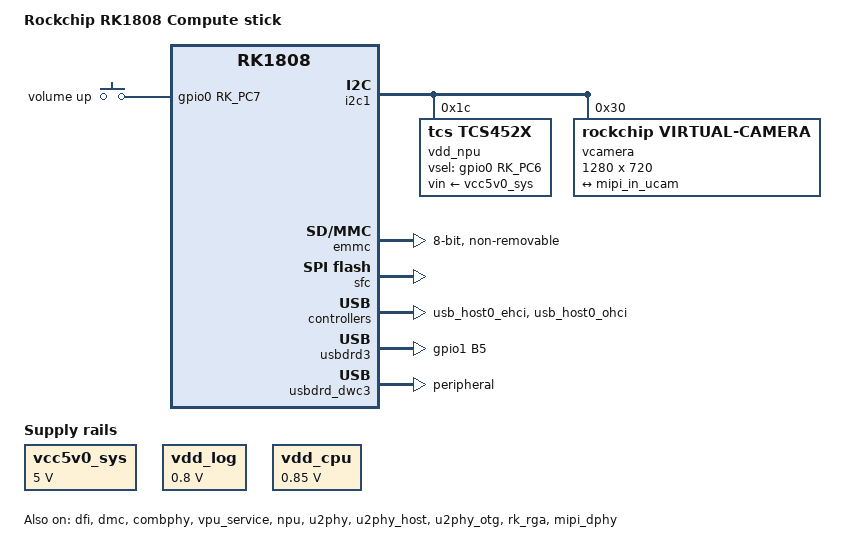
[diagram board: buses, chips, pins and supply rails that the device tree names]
// SPDX-License-Identifier: (GPL-2.0+ OR MIT)
// Copyright (c) 2018 Fuzhou Rockchip Electronics Co., Ltd.

#include <dt-bindings/display/drm_mipi_dsi.h>
#include <dt-bindings/display/media-bus-format.h>
#include <dt-bindings/gpio/gpio.h>
#include <dt-bindings/input/input.h>
#include <dt-bindings/pinctrl/rockchip.h>
#include <dt-bindings/sensor-dev.h>
#include "rk1808.dtsi"

/ {
	model = "Rockchip RK1808 Compute stick";
	compatible = "rockchip,rk1808-compute", "rockchip,rk1808";

	fiq-debugger {
		compatible = "rockchip,fiq-debugger";
		rockchip,serial-id = <2>;
		rockchip,wake-irq = <0>;
		/* If enable uart uses irq instead of fiq */
		rockchip,irq-mode-enable = <0>;
		rockchip,baudrate = <1500000>;  /* Only 115200 and 1500000 */
		interrupts = <GIC_SPI 242 IRQ_TYPE_LEVEL_HIGH>;
		status = "okay";
	};

	keys: gpio-keys {
		compatible = "gpio-keys";
		pinctrl-names = "default";
		pinctrl-0 = <&volup_key>;

		vol-up {
			gpios = <&gpio0 RK_PC7 GPIO_ACTIVE_HIGH>;
			label = "volume up";
			linux,code = <115>;
		};
	};


	firmware {
		optee {
			compatible = "linaro,optee-tz";
			method = "smc";
		};
	};

	reserved-memory {
		#address-cells = <2>;
		#size-cells = <2>;
		ranges;

		drm_logo: drm-logo@00000000 {
			compatible = "rockchip,drm-logo";
			reg = <0x0 0x0 0x0 0x0>;
		};

		ramoops_mem: region@110000 {
			reg = <0x0 0x110000 0x0 0xf0000>;
		};
	};

	ramoops: ramoops {
		compatible = "ramoops";
		record-size = <0x0 0x30000>;
		console-size = <0x0 0xc0000>;
		ftrace-size = <0x0 0x00000>;
		pmsg-size = <0x0 0x00000>;
		memory-region = <&ramoops_mem>;
	};

	vcc5v0_sys: vcc5v0-sys {
		compatible = "regulator-fixed";
		regulator-name = "vcc5v0_sys";
		regulator-always-on;
		regulator-boot-on;
		regulator-min-microvolt = <5000000>;
		regulator-max-microvolt = <5000000>;
	};

	vdd_log: vdd-log {
		compatible = "regulator-fixed";
		regulator-name = "vdd_log";
		regulator-always-on;
		regulator-boot-on;
		regulator-min-microvolt = <800000>;
		regulator-max-microvolt = <800000>;
	};

	vdd_cpu: vdd-cpu {
		compatible = "regulator-fixed";
		regulator-name = "vdd_cpu";
		regulator-always-on;
		regulator-boot-on;
		regulator-min-microvolt = <850000>;
		regulator-max-microvolt = <850000>;
	};
};

&i2c1 {
	status = "okay";

	vdd_npu: tcs452x@1c {
		compatible = "tcs,tcs452x";
		reg = <0x1c>;
		vin-supply = <&vcc5v0_sys>;
		regulator-compatible = "fan53555-reg";
		pinctrl-0 = <&vsel_gpio>;
		vsel-gpios = <&gpio0 RK_PC6 GPIO_ACTIVE_HIGH>;
		regulator-name = "vdd_npu";
		regulator-min-microvolt = <750000>;
		regulator-max-microvolt = <900000>;
		regulator-ramp-delay = <2300>;
		fcs,suspend-voltage-selector = <1>;
		regulator-always-on;
		regulator-boot-on;
		regulator-initial-state = <3>;
		regulator-state-mem {
			regulator-off-in-suspend;
		};
	};

	vcamera@30 {
		compatible = "rockchip,virtual-camera";
		reg = <0x30>;
		width = <1280>;
		height = <720>;
		bus-format = <MEDIA_BUS_FMT_UYVY8_2X8>;

		port {
			vcamera_out: endpoint {
				remote-endpoint = <&mipi_in_ucam>;
				link-frequencies = /bits/ 64 <320000000>;
			};
		};
	};
};

&cpu0 {
	cpu-supply = <&vdd_cpu>;
};

&cpu1 {
	cpu-supply = <&vdd_cpu>;
};

&dfi {
	status = "okay";
};

&dmc {
	status = "okay";
	center-supply = <&vdd_log>;
};

&dmc_opp_table {

	opp-924000000 {
		opp-hz = /bits/ 64 <924000000>;
		opp-microvolt = <750000>;
		status = "disabled";
	};
};

&combphy {
	status = "okay";
};

&vpu_service {
	status = "okay";
};

&vpu_mmu {
	status = "okay";
};

&emmc {
	bus-width = <8>;
	cap-mmc-highspeed;
	max-frequency = <200000000>;
	mmc-hs200-1_8v;
	supports-emmc;
	non-removable;
	num-slots = <1>;
	status = "okay";
};

&npu {
	npu-supply = <&vdd_npu>;
	status = "okay";
};

&power {
	pd_npu-supply = <&vdd_npu>;
};

&sfc {
	status = "okay";
};

&u2phy {
	status = "okay";
};

&u2phy_host {
	status = "okay";
};

&u2phy_otg {
	rockchip,vbus-always-on;
	status = "okay";
};

&usb_host0_ehci {
	status = "okay";
};

&usb_host0_ohci {
	status = "okay";
};

&usbdrd3 {
	status = "okay";
	pinctrl-names = "default";
	pinctrl-0 = <&usb3_host_en>;
};

&usbdrd_dwc3 {
	dr_mode = "peripheral";
	snps,tx-fifo-resize;
	status = "okay";
};

&rk_rga {
	status = "okay";
};

&mipi_dphy {
        status = "okay";
};

&pinctrl {

	vsel_gpio: vsel-gpio {
		rockchip,pins =
			<0 RK_PC6 0 &pcfg_pull_down>;
	};

	volup_key: volup-key {
		rockchip,pins =
			<0 RK_PC7 RK_FUNC_GPIO &pcfg_output_low>;
	};
	usb3 {
        usb3_host_en: usb3-host-en {
            rockchip,pins =
                <1 RK_PB5 RK_FUNC_GPIO &pcfg_output_high>;
        };
    };
};
